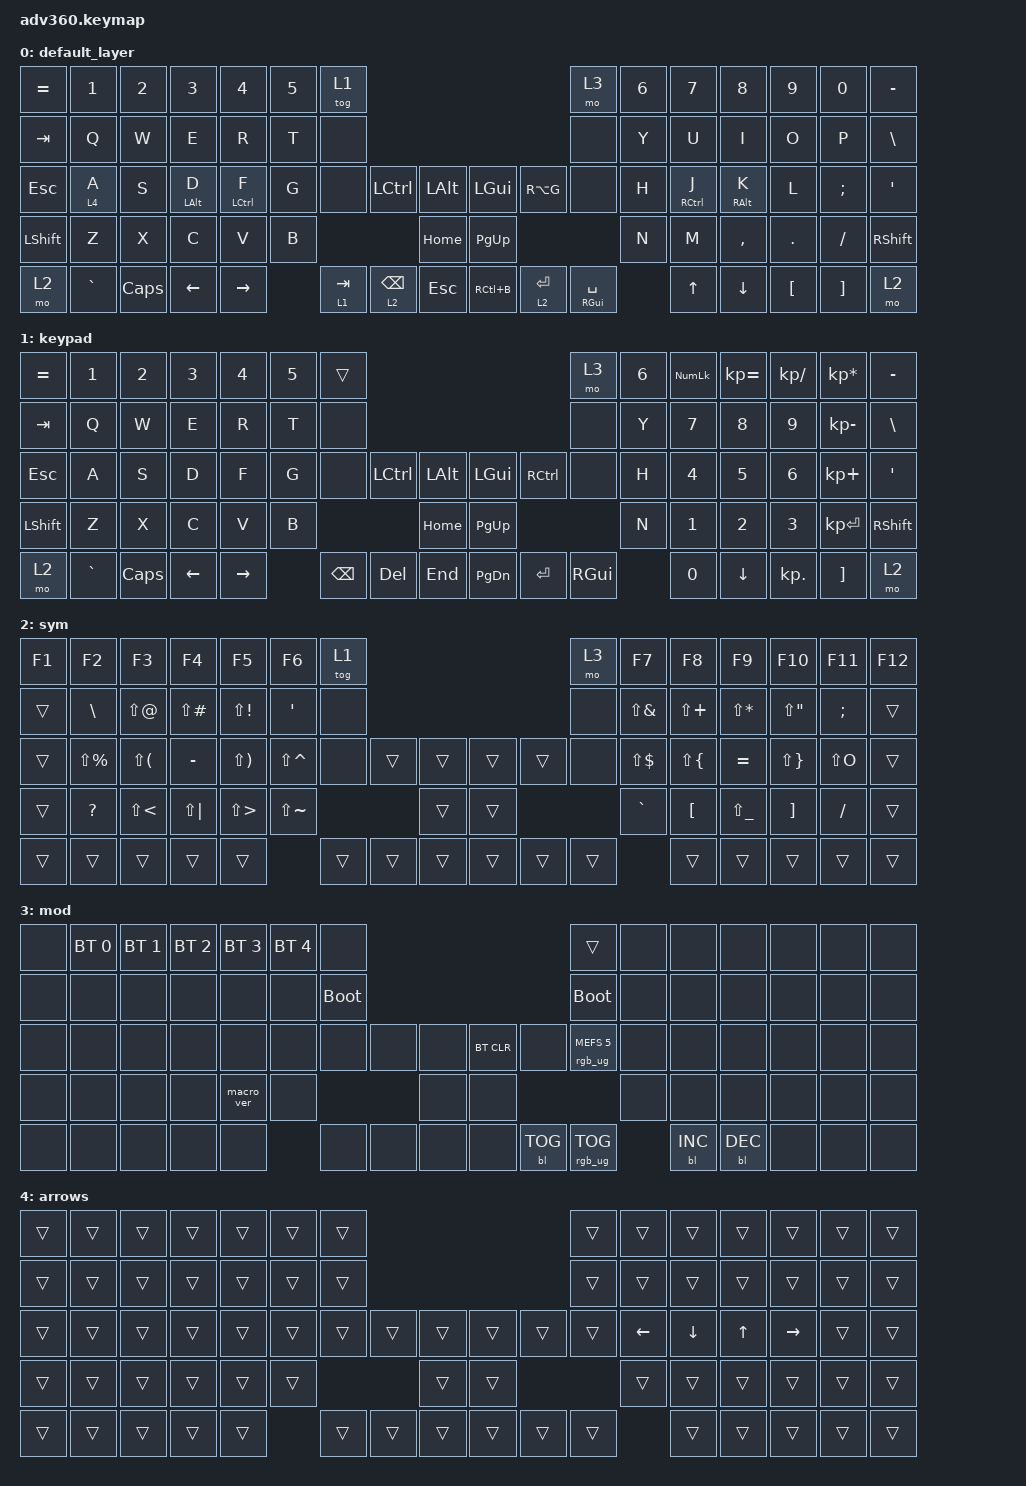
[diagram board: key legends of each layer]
#include <behaviors.dtsi>
#include <dt-bindings/zmk/backlight.h>
#include <dt-bindings/zmk/bt.h>
#include <dt-bindings/zmk/keys.h>
#include <dt-bindings/zmk/rgb.h>

/ {
    behaviors {
        #include "macros.dtsi"
      #include "version.dtsi"
      #ifndef VERSION_MACRO

        macro_ver: macro_ver {
            compatible = "zmk,behavior-macro";
            label = "macro_version";
            #binding-cells = <0>;
            bindings = <&kp RET>;
        };

        ex_error: ex_error {
            compatible = "zmk,behavior-macro";
            #binding-cells = <0>;
            bindings = <&kp LBRC &kp COLON &kp E &kp R &kp R &kp O &kp R &kp COMMA &kp SPACE &kp RBRC &kp LEFT>;
        };

        #endif

        hm: homerow_mods {
            compatible = "zmk,behavior-hold-tap";
            label = "HOMEROW_MODS";
            #binding-cells = <2>;
            tapping-term-ms = <200>;
            quick_tap_ms = <175>;
            flavor = "tap-preferred";
            bindings = <&kp>, <&kp>;
        };
    };

    macros {
    };

    combos {
        compatible = "zmk,combos";

        error {
            bindings = <&ex_error>;
            key-positions = <32 31>;
        };
    };

    keymap {
        compatible = "zmk,keymap";

        default_layer {
            bindings = <
&kp EQUAL  &kp N1     &kp N2    &kp N3      &kp N4       &kp N5  &tog 1                                                              &mo 3           &kp N6  &kp N7       &kp N8      &kp N9    &kp N0    &kp MINUS
&kp TAB    &kp Q      &kp W     &kp E       &kp R        &kp T   &none                                                               &none           &kp Y   &kp U        &kp I       &kp O     &kp P     &kp BSLH
&kp ESC    &lt 4 A    &kp S     &hm LALT D  &hm LCTRL F  &kp G   &none      &kp LCTRL        &kp LALT        &kp LGUI   &kp RA(G)    &none           &kp H   &hm RCTRL J  &hm RALT K  &kp L     &kp SEMI  &kp SQT
&kp LSHFT  &kp Z      &kp X     &kp C       &kp V        &kp B                               &kp HOME        &kp PG_UP                               &kp N   &kp M        &kp COMMA   &kp DOT   &kp FSLH  &kp RSHFT
&mo 2      &kp GRAVE  &kp CAPS  &kp LEFT    &kp RIGHT            &lt 1 TAB  &lt 2 BACKSPACE  &kp ESCAPE      &kp RC(B)  &lt 2 ENTER  &hm RGUI SPACE          &kp UP       &kp DOWN    &kp LBKT  &kp RBKT  &mo 2
            >;
        };

        keypad {
            bindings = <
&kp EQUAL  &kp N1     &kp N2    &kp N3    &kp N4     &kp N5  &trans                                                   &mo 3     &kp N6  &kp KP_NUM    &kp KP_EQUAL  &kp KP_DIVIDE  &kp KP_MULTIPLY  &kp MINUS
&kp TAB    &kp Q      &kp W     &kp E     &kp R      &kp T   &none                                                    &none     &kp Y   &kp N7        &kp N8        &kp N9         &kp KP_MINUS     &kp BSLH
&kp ESC    &kp A      &kp S     &kp D     &kp F      &kp G   &none     &kp LCTRL  &kp LALT      &kp LGUI   &kp RCTRL  &none     &kp H   &kp NUMBER_4  &kp N5        &kp NUMBER_6   &kp KP_PLUS      &kp SQT
&kp LSHFT  &kp Z      &kp X     &kp C     &kp V      &kp B                        &kp HOME      &kp PG_UP                       &kp N   &kp NUMBER_1  &kp NUMBER_2  &kp NUMBER_3   &kp KP_ENTER     &kp RSHFT
&mo 2      &kp GRAVE  &kp CAPS  &kp LEFT  &kp RIGHT          &kp BSPC  &kp DEL    &kp END       &kp PG_DN  &kp ENTER  &kp RGUI          &kp N0        &kp DOWN      &kp KP_DOT     &kp RBKT         &mo 2
            >;
        };

        symbols {
            bindings = <
&kp F1  &kp F2         &kp F3        &kp F4         &kp F5        &kp F6         &tog 1                                      &mo 3   &kp F7        &kp F8        &kp F9         &kp F10       &kp F11    &kp F12
&trans  &kp BSLH       &kp LS(AT)    &kp LS(POUND)  &kp LS(EXCL)  &kp SQT        &none                                       &none   &kp LS(AMPS)  &kp LS(PLUS)  &kp LS(STAR)   &kp LS(DQT)   &kp SEMI   &trans
&trans  &kp LS(PRCNT)  &kp LS(LPAR)  &kp MINUS      &kp LS(RPAR)  &kp LS(CARET)  &none   &trans  &trans      &trans  &trans  &none   &kp LS(DLLR)  &kp LS(LBRC)  &kp EQUAL      &kp LS(RBRC)  &kp LS(O)  &trans
&trans  &kp QUESTION   &kp LS(LT)    &kp LS(PIPE)   &kp LS(GT)    &kp LS(TILDE)                  &trans      &trans                  &kp GRAVE     &kp LBKT      &kp LS(UNDER)  &kp RBKT      &kp FSLH   &trans
&trans  &trans         &trans        &trans         &trans                       &trans  &trans  &trans      &trans  &trans  &trans                &trans        &trans         &trans        &trans     &trans
            >;

            label = "sym";
        };

        mod {
            bindings = <
&none  &bt BT_SEL 0  &bt BT_SEL 1  &bt BT_SEL 2  &bt BT_SEL 3  &bt BT_SEL 4  &none                                                  &trans                  &none  &none       &none       &none  &none  &none
&none  &none         &none         &none         &none         &none         &bootloader                                            &bootloader             &none  &none       &none       &none  &none  &none
&none  &none         &none         &none         &none         &none         &none        &none  &none      &bt BT_CLR  &none       &rgb_ug RGB_MEFS_CMD 5  &none  &none       &none       &none  &none  &none
&none  &none         &none         &none         &macro_ver    &none                             &none      &none                                           &none  &none       &none       &none  &none  &none
&none  &none         &none         &none         &none                       &none        &none  &none      &none       &bl BL_TOG  &rgb_ug RGB_TOG                &bl BL_INC  &bl BL_DEC  &none  &none  &none
            >;
        };

        arrows {
            bindings = <
&trans  &trans  &trans  &trans  &trans  &trans  &trans                                      &trans  &trans    &trans    &trans        &trans     &trans  &trans
&trans  &trans  &trans  &trans  &trans  &trans  &trans                                      &trans  &trans    &trans    &trans        &trans     &trans  &trans
&trans  &trans  &trans  &trans  &trans  &trans  &trans  &trans  &trans      &trans  &trans  &trans  &kp LEFT  &kp DOWN  &kp UP_ARROW  &kp RIGHT  &trans  &trans
&trans  &trans  &trans  &trans  &trans  &trans                  &trans      &trans                  &trans    &trans    &trans        &trans     &trans  &trans
&trans  &trans  &trans  &trans  &trans          &trans  &trans  &trans      &trans  &trans  &trans            &trans    &trans        &trans     &trans  &trans
            >;
        };
    };
};
